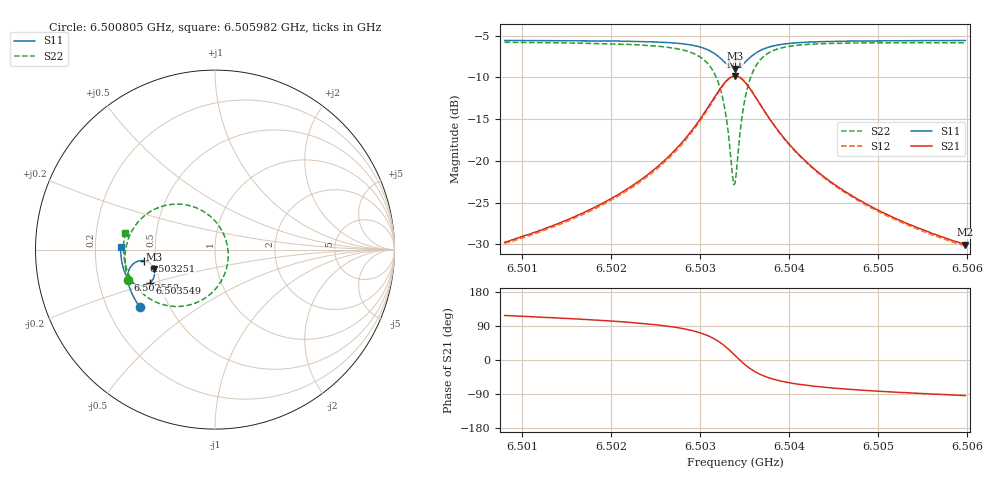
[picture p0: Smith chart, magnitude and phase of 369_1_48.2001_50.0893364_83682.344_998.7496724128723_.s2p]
#  HZ  S  RI  R  50.00
! Rohde & Schwarz Vector Network Analyzer
! Rohde-Schwarz,ZNB20-2Port,1311601062101988,3.16
! Created: UTC 3/20/2024, 11:52:37 AM
! freq[Hz]  re:S11  im:S11  re:S21  im:S21  re:S12  im:S12  re:S22  im:S22
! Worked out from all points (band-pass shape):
!   401 points, 6.500805 GHz to 6.505982 GHz, reference 50 ohm
!   highest |S21| = -9.84 dB at 6.503394 GHz (marker M1); lowest = -30.1 dB at 6.505982 GHz (marker M2)
!   |S21| within 3 dB of the highest: 6.503135 GHz to 6.503652 GHz (517.1 kHz wide, 0.00795 % of centre)
!   lowest |S11| = -8.9 dB at 6.503394 GHz (marker M3), VSWR 2.11, Z = 24.1 - j6.09 ohm
!   |S11| at or under -10 dB: nowhere
!   |S22| runs from -22.9 to -5.8 dB; largest |S21 - S12| = 0.011
!   S11 on the Smith chart (normalised r, x): 6.500805 GHz: 0.34, -0.30; 6.502553 GHz: 0.33, -0.15; 6.503251 GHz: 0.43, -0.06; 6.503549 GHz: 0.44, -0.20; 6.505982 GHz: 0.31, +0.01
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6.5008053e9  -0.4195 -0.3181  -0.015 0.0288  -0.0134 0.029  -0.4855 -0.1672
6.5016724e9  -0.4578 -0.2552  -0.0145 0.0462  -0.0122 0.0459  -0.5011 -0.0775
6.5021254e9  -0.4743 -0.2161  -0.0121 0.0637  -0.00919 0.0628  -0.4998 -0.0154
6.5025396e9  -0.485 -0.1717  -0.00341 0.0939  0.000266 0.0917  -0.4816 0.0636
6.5025525e9  -0.4852 -0.1701  -0.00283 0.0952  0.000887 0.0929  -0.4803 0.0667
6.5027984e9  -0.4847 -0.1349  0.0151 0.1281  0.0189 0.1243  -0.4427 0.136
6.5029796e9  -0.4737 -0.1018  0.0491 0.1639  0.0524 0.1585  -0.3755 0.2017
6.5031479e9  -0.4396 -0.0688  0.1256 0.197  0.1269 0.1905  -0.2353 0.2526
6.5032514e9  -0.3975 -0.0617  0.2098 0.1887  0.2101 0.1833  -0.0888 0.2259
6.5033032e9  -0.3723 -0.07  0.2576 0.1614  0.2584 0.1567  -0.0093 0.1698
6.5033679e9  -0.3458 -0.0958  0.305 0.0988  0.3073 0.0939  0.0618 0.0498
6.5033938e9  -0.3397 -0.1101  0.3151 0.0672  0.318 0.0615  0.0728 -0.00904
6.5034067e9  -0.3376 -0.1176  0.3178 0.0508  0.3209 0.0446  0.0736 -0.0392
6.5034844e9  -0.3435 -0.1618  0.3014 -0.0423  0.3032 -0.052  0.0172 -0.2017
6.5035491e9  -0.3643 -0.1871  0.2595 -0.0955  0.2583 -0.1064  -0.077 -0.2832
6.5036526e9  -0.4031 -0.2019  0.1864 -0.1313  0.1811 -0.1405  -0.224 -0.3168
6.5038209e9  -0.4485 -0.1923  0.1065 -0.1286  0.0997 -0.1334  -0.368 -0.2713
6.5040021e9  -0.4755 -0.1708  0.0627 -0.109  0.0567 -0.1114  -0.4388 -0.2077
6.5042609e9  -0.4963 -0.1408  0.0333 -0.0855  0.0287 -0.086  -0.4815 -0.1365
6.5046621e9  -0.5121 -0.0998  0.0143 -0.0623  0.0112 -0.062  -0.504 -0.0602
6.5051281e9  -0.5211 -0.0571  0.00501 -0.0467  0.00262 -0.0461  -0.5096 0.00364
6.5059823e9  -0.5258 0.0147  -0.00215 -0.0314  -0.00338 -0.0306  -0.5015 0.0921
